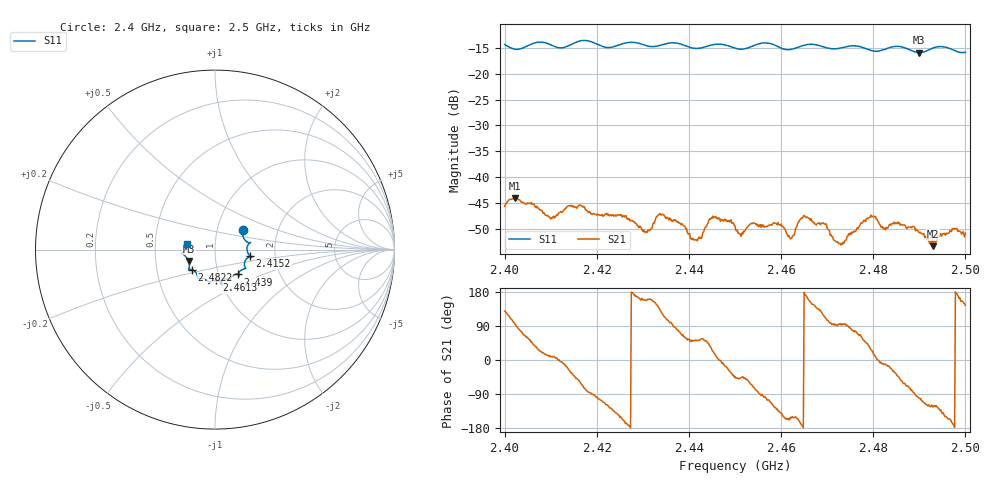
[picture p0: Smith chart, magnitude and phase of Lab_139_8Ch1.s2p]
# Hz S RI R 50
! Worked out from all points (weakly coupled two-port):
!   601 points, 2.4 GHz to 2.5 GHz, reference 50 ohm
!   highest |S21| = -44.08 dB at 2.4022 GHz (marker M1); lowest = -53.4 dB at 2.493 GHz (marker M2)
!   lowest |S11| = -15.9 dB at 2.49 GHz (marker M3), VSWR 1.38, Z = 36.9 - j4.83 ohm
!   |S11| at or under -10 dB: start of sweep to end of sweep
!   S12 and S22 are empty: the file has one direction only
!   S11 on the Smith chart (normalised r, x): 2.4 GHz: 1.33, +0.31; 2.4152 GHz: 1.48, -0.11; 2.439 GHz: 1.24, -0.36; 2.4613 GHz: 0.96, -0.34; 2.4822 GHz: 0.76, -0.17; 2.5 GHz: 0.73, +0.05
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2.4e9  0.1556 0.1114  -0.00325 0.00406  0 0  0 0
2.402167e9  0.1556 0.0754  -0.000668 0.00621  0 0  0 0
2.41e9  0.1879 0.0326  0.00388 0.000613  0 0  0 0
2.415167e9  0.1953 -0.0364  0.00367 -0.00351  0 0  0 0
2.416667e9  0.2048 -0.0423  0.00233 -0.00471  0 0  0 0
2.4305e9  0.1525 -0.1108  -0.00275 0.00109  0 0  0 0
2.433333e9  0.1318 -0.1321  -0.00332 0.00271  0 0  0 0
2.439e9  0.1282 -0.1383  0.0016 0.00293  0 0  0 0
2.4415e9  0.1039 -0.1417  0.00149 0.00197  0 0  0 0
2.445333e9  0.0844 -0.1719  0.00376 0.00145  0 0  0 0
2.45e9  0.0688 -0.1633  0.00244 -0.00231  0 0  0 0
2.458833e9  0.0353 -0.1841  -0.00213 -0.00286  0 0  0 0
2.461333e9  0.00762 -0.1707  -0.00252 -0.00113  0 0  0 0
2.464667e9  -0.031 -0.1846  -0.00399 -0.000344  0 0  0 0
2.466667e9  -0.0334 -0.1902  -0.00315 0.00201  0 0  0 0
2.472833e9  -0.0757 -0.1602  -0.000138 0.00229  0 0  0 0
2.4795e9  -0.1034 -0.1326  0.00381 0.00197  0 0  0 0
2.482167e9  -0.1282 -0.1118  0.00311 -0.000551  0 0  0 0
2.483333e9  -0.1395 -0.1104  0.00322 -0.0009  0 0  0 0
2.49e9  -0.1469 -0.0637  -0.000553 -0.00283  0 0  0 0
2.493e9  -0.1752 -0.0275  -0.00119 -0.00178  0 0  0 0
2.5e9  -0.1582 0.0336  -0.00232 0.00167  0 0  0 0
